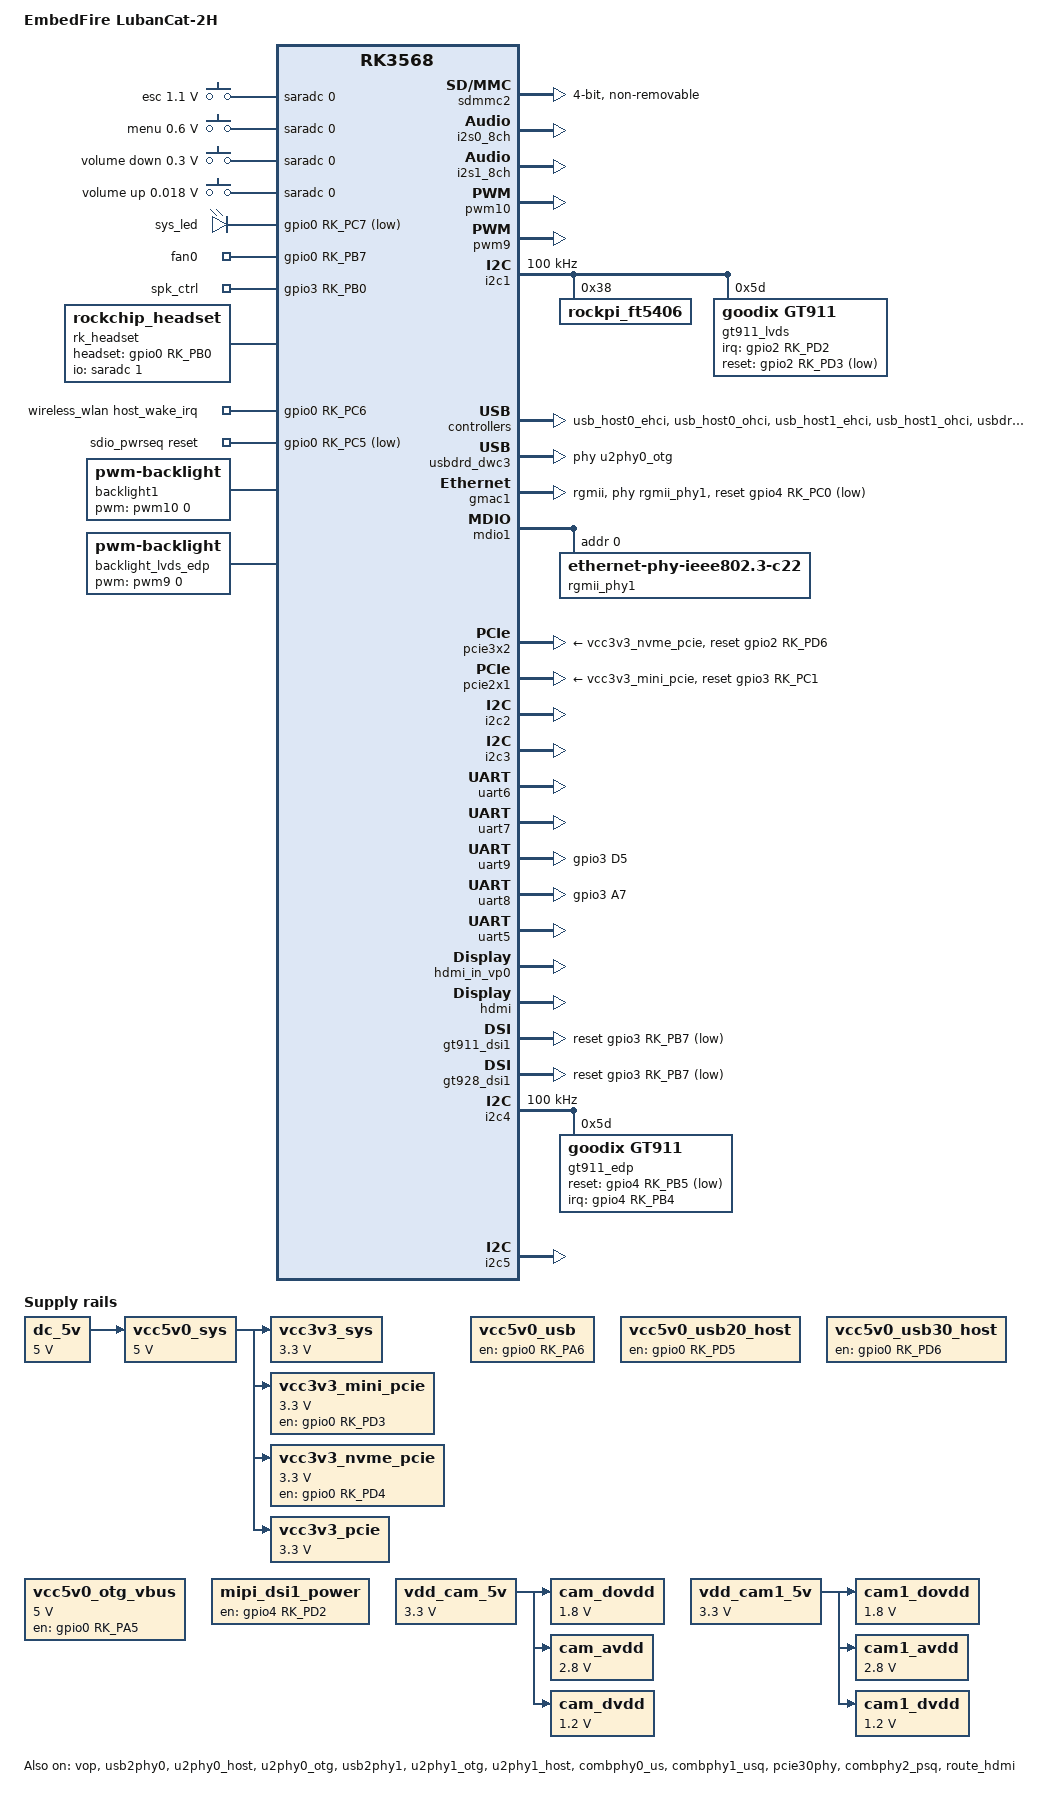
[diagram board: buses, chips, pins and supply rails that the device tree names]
// SPDX-License-Identifier: (GPL-2.0+ OR MIT)
 /dts-v1/;

#include <dt-bindings/gpio/gpio.h>
#include <dt-bindings/pwm/pwm.h>
#include <dt-bindings/pinctrl/rockchip.h>
#include <dt-bindings/input/rk-input.h>
#include <dt-bindings/display/drm_mipi_dsi.h>
#include <dt-bindings/display/rockchip_vop.h>
#include <dt-bindings/sensor-dev.h>
#include <dt-bindings/phy/jlsemi-dt-phy.h>
#include "rk3568.dtsi"
#include "rk3568-lubancat.dtsi"

//MIPI摄像头配置
#include "rk3568-lubancat-csi2-double.dtsi"
// #include "rk3568-lubancat-2h-gm8775c-lvds-800x1280.dtsi"
// #include "rk3568-lubancat-2h-edp-in-vp1.dtsi"
#include "rk3568-lubancat-2h-dsi1-in-vp1.dtsi"

/ {
	model = "EmbedFire LubanCat-2H";
	compatible = "embedfire,lubancat-2h", "rockchip,rk3568";

	adc-keys {
		compatible = "adc-keys";
		io-channels = <&saradc 0>;
		io-channel-names = "buttons";
		poll-interval = <100>;
		keyup-threshold-microvolt = <1800000>;

		esc-key {
			linux,code = <KEY_ESC>;
			label = "esc";
			press-threshold-microvolt = <1100000>;
		};

		menu-key {
			linux,code = <KEY_MENU>;
			label = "menu";
			press-threshold-microvolt = <600000>;
		};

		vol-down-key {
			linux,code = <KEY_VOLUMEDOWN>;
			label = "volume down";
			press-threshold-microvolt = <300000>;
		};

		vol-up-key {
			linux,code = <KEY_VOLUMEUP>;
			label = "volume up";
			press-threshold-microvolt = <18000>;
		};
	};

	dc_5v: dc-5v {
		compatible = "regulator-fixed";
		regulator-name = "dc_5v";
		regulator-always-on;
		regulator-boot-on;
		regulator-min-microvolt = <5000000>;
		regulator-max-microvolt = <5000000>;
	};

	vcc5v0_sys: vcc5v0-sys {
		compatible = "regulator-fixed";
		regulator-name = "vcc5v0_sys";
		regulator-always-on;
		regulator-boot-on;
		regulator-min-microvolt = <5000000>;
		regulator-max-microvolt = <5000000>;
		vin-supply = <&dc_5v>;
	};

	vcc3v3_sys: vcc3v3-sys {
		compatible = "regulator-fixed";
		regulator-name = "vcc3v3_sys";
		regulator-always-on;
		regulator-boot-on;
		regulator-min-microvolt = <3300000>;
		regulator-max-microvolt = <3300000>;
		vin-supply = <&vcc5v0_sys>;
	};

	vcc5v0_usb: vcc5v0-usb-regulator {
		compatible = "regulator-fixed";
		enable-active-high;
		gpio = <&gpio0 RK_PA6 GPIO_ACTIVE_HIGH>;
		pinctrl-names = "default";
		pinctrl-0 = <&vcc5v0_usb_en>;
		regulator-name = "vcc5v0_usb20_host";
		regulator-always-on;
	};

	vcc5v0_usb20_host: vcc5v0-usb20-host-regulator {
		compatible = "regulator-fixed";
		enable-active-high;
		gpio = <&gpio0 RK_PD5 GPIO_ACTIVE_HIGH>;
		pinctrl-names = "default";
		pinctrl-0 = <&vcc5v0_usb20_host_en>;
		regulator-name = "vcc5v0_usb20_host";
		regulator-always-on;
	};

	vcc5v0_usb30_host: vcc5v0-usb30-host-regulator {
		compatible = "regulator-fixed";
		enable-active-high;
		gpio = <&gpio0 RK_PD6 GPIO_ACTIVE_HIGH>;
		pinctrl-names = "default";
		pinctrl-0 = <&vcc5v0_usb30_host_en>;
		regulator-name = "vcc5v0_usb30_host";
		regulator-always-on;
	};

	vcc5v0_otg_vbus: vcc5v0-otg-vbus-regulator {
		compatible = "regulator-fixed";
		enable-active-high;
		regulator-min-microvolt = <5000000>;
		regulator-max-microvolt = <5000000>;
		gpio = <&gpio0 RK_PA5 GPIO_ACTIVE_HIGH>;
		pinctrl-names = "default";
		pinctrl-0 = <&vcc5v0_otg_vbus_en>;
		regulator-name = "vcc5v0_otg_vbus";
	};

	vcc3v3_mini_pcie: mini-pcie-3v3-regulator {
		compatible = "regulator-fixed";
		regulator-name = "vcc3v3_mini_pcie";
		regulator-min-microvolt = <3300000>;
		regulator-max-microvolt = <3300000>;
		enable-active-high;
		regulator-always-on;
		gpio = <&gpio0 RK_PD3 GPIO_ACTIVE_HIGH>;
		startup-delay-us = <5000>;
		vin-supply = <&vcc5v0_sys>;
	};

	vcc3v3_nvme_pcie: nvme-pcie-3v3-regulator {
		compatible = "regulator-fixed";
		regulator-name = "vcc3v3_nvme_pcie";
		regulator-min-microvolt = <3300000>;
		regulator-max-microvolt = <3300000>;
		enable-active-high;
		regulator-always-on;
		gpio = <&gpio0 RK_PD4 GPIO_ACTIVE_HIGH>;
		startup-delay-us = <5000>;
		vin-supply = <&vcc5v0_sys>;
	};

	vcc3v3_pcie: gpio-regulator {
		compatible = "regulator-fixed";
		regulator-always-on;
		regulator-boot-on;
		regulator-min-microvolt = <3300000>;
		regulator-max-microvolt = <3300000>;
		regulator-name = "vcc3v3_pcie";
		vin-supply = <&vcc5v0_sys>;
	};

	mipi_dsi1_power: mipi-dsi-power-regulator {
		compatible = "regulator-fixed";
		enable-active-high;
		gpio = <&gpio4 RK_PD2 GPIO_ACTIVE_HIGH>;
		pinctrl-names = "default";
		pinctrl-0 = <&mipi_dsi1_pwr_en>;
		regulator-name = "mipi_dsi1_power";
		regulator-always-on;
	};
	vdd_cam_5v: vdd-cam-5v-regulator {
		compatible = "regulator-fixed";
		regulator-name = "vdd_cam_5v";
		regulator-min-microvolt = <3300000>;
		regulator-max-microvolt = <3300000>;
		enable-active-high;
		regulator-always-on;
	};

	cam_dovdd: cam-dovdd {
		compatible = "regulator-fixed";
		regulator-name = "cam_dovdd";
		regulator-always-on;
		regulator-boot-on;
		regulator-min-microvolt = <1800000>;
		regulator-max-microvolt = <1800000>;
		vin-supply = <&vdd_cam_5v>;
	};

	cam_avdd: cam-avdd {
		compatible = "regulator-fixed";
		regulator-name = "cam_avdd";
		regulator-always-on;
		regulator-boot-on;
		regulator-min-microvolt = <2800000>;
		regulator-max-microvolt = <2800000>;
		vin-supply = <&vdd_cam_5v>;
	};

	cam_dvdd: cam-dvdd {
		compatible = "regulator-fixed";
		regulator-name = "cam_dvdd";
		regulator-always-on;
		regulator-boot-on;
		regulator-min-microvolt = <1200000>;
		regulator-max-microvolt = <1200000>;
		vin-supply = <&vdd_cam_5v>;
	};

	vdd_cam1_5v: vdd-cam1-5v-regulator {
		compatible = "regulator-fixed";
		regulator-name = "vdd_cam1_5v";
		regulator-min-microvolt = <3300000>;
		regulator-max-microvolt = <3300000>;
		enable-active-high;
		regulator-always-on;
	};

	cam1_dovdd: cam1-dovdd {
		compatible = "regulator-fixed";
		regulator-name = "cam1_dovdd";
		regulator-always-on;
		regulator-boot-on;
		regulator-min-microvolt = <1800000>;
		regulator-max-microvolt = <1800000>;
		vin-supply = <&vdd_cam1_5v>;
	};

	cam1_avdd: cam1-avdd {
		compatible = "regulator-fixed";
		regulator-name = "cam1_avdd";
		regulator-always-on;
		regulator-boot-on;
		regulator-min-microvolt = <2800000>;
		regulator-max-microvolt = <2800000>;
		vin-supply = <&vdd_cam1_5v>;
	};

	cam1_dvdd: cam1-dvdd {
		compatible = "regulator-fixed";
		regulator-name = "cam1_dvdd";
		regulator-always-on;
		regulator-boot-on;
		regulator-min-microvolt = <1200000>;
		regulator-max-microvolt = <1200000>;
		vin-supply = <&vdd_cam1_5v>;
	};

	leds: leds {
		status = "okay";
		compatible = "gpio-leds";

		sys_led: sys-led {
			label = "sys_led";
			linux,default-trigger = "heartbeat";
			default-state = "on";
			gpios = <&gpio0 RK_PC7 GPIO_ACTIVE_LOW>;
			pinctrl-names = "default";
			pinctrl-0 = <&sys_led_pin>;
		};

		fan0: fan0 {
			label = "fan0";
			default-state = "on";
			linux,default-trigger = "none";
			gpios = <&gpio0 RK_PB7 GPIO_ACTIVE_HIGH>;
			pinctrl-names = "default";
			pinctrl-0 = <&fan0_pin>;
		};

		spk_ctrl: spk_ctrl {
			label = "spk_ctrl";
			default-state = "on";
			linux,default-trigger = "none";
			gpios = <&gpio3 RK_PB0 GPIO_ACTIVE_HIGH>;
			pinctrl-names = "default";
			pinctrl-0 = <&spk_ctrl_pin>;
		};
	};

	rk809_sound: rk809-sound {
		status = "okay";
		compatible = "simple-audio-card";
		simple-audio-card,format = "i2s";
		simple-audio-card,name = "rockchip,rk809-codec";
		simple-audio-card,mclk-fs = <256>;
		simple-audio-card,widgets =
			"Microphone", "Mic Jack",
			"Headphone", "Headphone Jack";
		simple-audio-card,routing =
			"Mic Jack", "MICBIAS1",
			"IN1P", "Mic Jack",
			"Headphone Jack", "HPOL",
			"Headphone Jack", "HPOR";
		simple-audio-card,cpu {
			sound-dai = <&i2s1_8ch>;
		};
		simple-audio-card,codec {
			sound-dai = <&rk809_codec>;
		};
	};

	rk_headset: rk-headset {
		status = "okay";
		compatible = "rockchip_headset";
		headset_gpio = <&gpio0 RK_PB0 GPIO_ACTIVE_HIGH>;
		pinctrl-names = "default";
		pinctrl-0 = <&hp_det>;
		io-channels = <&saradc 1>;
	};

	hdmi_sound: hdmi-sound {
		compatible = "simple-audio-card";
		simple-audio-card,format = "i2s";
		simple-audio-card,mclk-fs = <128>;
		simple-audio-card,name = "rockchip,hdmi";
		status = "okay";

		simple-audio-card,cpu {
			sound-dai = <&i2s0_8ch>;
		};
		simple-audio-card,codec {
			sound-dai = <&hdmi>;
		};
	};

	wireless_wlan: wireless-wlan {
		compatible = "wlan-platdata";
		clocks = <&rk809 1>;
		clock-names = "clk_wifi";
		rockchip,grf = <&grf>;
		pinctrl-names = "default";
		pinctrl-0 = <&wifi_wake_host>;
		wifi_chip_type = "rtl8189es";
		WIFI,host_wake_irq = <&gpio0 RK_PC6 GPIO_ACTIVE_HIGH>;
		status = "okay";
	};

	sdio_pwrseq: sdio-pwrseq {
		compatible = "mmc-pwrseq-simple";
		clocks = <&rk809 1>;
		clock-names = "ext_clock";
		pinctrl-names = "default";
		pinctrl-0 = <&wifi_enable_h>;

			/*
		 * On the module itself this is one of these (depending
		 * on the actual card populated):
		 * - SDIO_RESET_L_WL_REG_ON
		 * - PDN (power down when low)
		 */
		reset-gpios = <&gpio0 RK_PC5 GPIO_ACTIVE_LOW>;
	};

	backlight1: backlight {
		status = "okay";
		compatible = "pwm-backlight";
		pwms = <&pwm10 0 50000 0>;
		brightness-levels = <
			 95  95  95  95  95  95  95  95
			 95  95  95  95  95  95  95  95
			 95  95  95  95  95  95  95  95
			 95  95  95  95  95  95  95  95
			 95  95  95  95  95  95  95  95
			 95  95  95  95  95  95  95  95
			 95  95  95  95  95  95  95  95
			 95  95  95  95  95  95  95  95
			 95  95  95  95  95  95  95  95
			 95  95  95  95  95  95  95  95
			 95  95  95  95  95  95  95  95
			 88  89  90  91  92  93  94  95
			 96  97  98  99 100 101 102 103
			104 105 106 107 108 109 110 111
			112 113 114 115 116 117 118 119
			120 121 122 123 124 125 126 127
			128 129 130 131 132 133 134 135
			136 137 138 139 140 141 142 143
			144 145 146 147 148 149 150 151
			152 153 154 155 156 157 158 159
			160 161 162 163 164 165 166 167
			168 169 170 171 172 173 174 175
			176 177 178 179 180 181 182 183
			184 185 186 187 188 189 190 191
			192 193 194 195 196 197 198 199
			200 201 202 203 204 205 206 207
			208 209 210 211 212 213 214 215
			216 217 218 219 220 221 222 223
			224 225 226 227 228 229 230 231
			232 233 234 235 236 237 238 239
			240 241 242 243 244 245 246 247
			248 249 250 251 252 253 254 255
		>;
		default-brightness-level = <200>;
	};

	backlight_lvds_edp: backlight-lvds-edp {
		status = "okay";
		compatible = "pwm-backlight";
		pwms = <&pwm9 0 50000 0>;
		brightness-levels = <
			 95  95  95  95  95  95  95  95
			 95  95  95  95  95  95  95  95
			 95  95  95  95  95  95  95  95
			 95  95  95  95  95  95  95  95
			 95  95  95  95  95  95  95  95
			 95  95  95  95  95  95  95  95
			 95  95  95  95  95  95  95  95
			 95  95  95  95  95  95  95  95
			 95  95  95  95  95  95  95  95
			 95  95  95  95  95  95  95  95
			 95  95  95  95  95  95  95  95
			 88  89  90  91  92  93  94  95
			 96  97  98  99 100 101 102 103
			104 105 106 107 108 109 110 111
			112 113 114 115 116 117 118 119
			120 121 122 123 124 125 126 127
			128 129 130 131 132 133 134 135
			136 137 138 139 140 141 142 143
			144 145 146 147 148 149 150 151
			152 153 154 155 156 157 158 159
			160 161 162 163 164 165 166 167
			168 169 170 171 172 173 174 175
			176 177 178 179 180 181 182 183
			184 185 186 187 188 189 190 191
			192 193 194 195 196 197 198 199
			200 201 202 203 204 205 206 207
			208 209 210 211 212 213 214 215
			216 217 218 219 220 221 222 223
			224 225 226 227 228 229 230 231
			232 233 234 235 236 237 238 239
			240 241 242 243 244 245 246 247
			248 249 250 251 252 253 254 255
		>;
		default-brightness-level = <200>;
	};
};

&sdmmc2 {
	max-frequency = <150000000>;
	supports-sdio;
	bus-width = <4>;
	disable-wp;
	cap-sd-highspeed;
	cap-sdio-irq;
	keep-power-in-suspend;
	mmc-pwrseq = <&sdio_pwrseq>;
	non-removable;
	pinctrl-names = "default";
	pinctrl-0 = <&sdmmc2m1_bus4 &sdmmc2m1_cmd &sdmmc2m1_clk>;
	sd-uhs-sdr104;
	status = "okay";
};

&i2s0_8ch {
	status = "okay";
};

&i2s1_8ch {
	status = "okay";
	rockchip,clk-trcm = <1>;
	/delete-property/ rockchip,playback-only;
	pinctrl-names = "default";
	pinctrl-0 = <&i2s1m0_sclktx
			 &i2s1m0_lrcktx
			 &i2s1m0_sdi0
			 &i2s1m0_sdo0>;
};

&pwm10 {
	status = "okay";
};

&pwm9 {
	status = "okay";
};

&xin32k {
	status = "disabled";
};

&i2c1 {
	status = "okay";
	clock-frequency = <100000>;

	rockpi_ft5406: rockpi_ft5406@38 {
		compatible = "rockpi_ft5406";
		reg = <0x38>;
		status = "okay";
	};

	gt911_lvds: gt911-lvds@5d {
		status = "okay";
		interrupt-parent = <&gpio2>;
		interrupts = <RK_PD2 IRQ_TYPE_LEVEL_LOW>;
		irq-gpios = <&gpio2 RK_PD2 GPIO_ACTIVE_HIGH>;
		reset-gpios = <&gpio2 RK_PD3 GPIO_ACTIVE_LOW>;
		compatible = "goodix,gt911";
		reg = <0x5d>;
		touchscreen-inverted-x = <1>;
		touchscreen-inverted-y = <1>;
	};
};

&pmu_io_domains {
	status = "okay";
	pmuio2-supply = <&vcc3v3_pmu>;
	vccio1-supply = <&vccio_acodec>;
	vccio3-supply = <&vccio_sd>;
	vccio4-supply = <&vcc_1v8>;
	vccio5-supply = <&vcc_3v3>;
	vccio6-supply = <&vcc_1v8>;
	vccio7-supply = <&vcc_3v3>;
};

&vop {
	status = "okay";
	assigned-clocks = <&cru DCLK_VOP0>, <&cru DCLK_VOP1>;
	assigned-clock-parents = <&pmucru PLL_HPLL>, <&cru PLL_VPLL>;
};

&vop_mmu {
	status = "okay";
};

&vp0 {
	rockchip,plane-mask = <(1 << ROCKCHIP_VOP2_CLUSTER0 | 1 << ROCKCHIP_VOP2_ESMART0 | 1 << ROCKCHIP_VOP2_SMART0)>;
	rockchip,primary-plane = <ROCKCHIP_VOP2_SMART0>;
	// cursor-win-id = <ROCKCHIP_VOP2_CLUSTER0>;
};

&vp1 {
	rockchip,plane-mask = <(1 << ROCKCHIP_VOP2_CLUSTER1 | 1 << ROCKCHIP_VOP2_ESMART1 | 1 << ROCKCHIP_VOP2_SMART1)>;
	rockchip,primary-plane = <ROCKCHIP_VOP2_SMART1>;
	// cursor-win-id = <ROCKCHIP_VOP2_CLUSTER1>;
};

/* USB OTG/USB Host_1 USB 2.0 Comb */
&usb2phy0 {
	status = "okay";
};

&u2phy0_host {
	phy-supply = <&vcc5v0_usb30_host>;
	status = "okay";
};

&u2phy0_otg {
	vbus-supply = <&vcc5v0_otg_vbus>;
	status = "okay";
};

&usb_host0_ehci {
	status = "okay";
};

&usb_host0_ohci {
	status = "okay";
};

/* USB Host_2/USB Host_3 USB 2.0 Comb */
&usb2phy1 {
	status = "okay";
};

&u2phy1_otg {
	phy-supply = <&vcc5v0_usb20_host>;
	status = "okay";
};

&u2phy1_host {
	status = "okay";
};

&usb_host1_ehci {
	status = "okay";
};

&usb_host1_ohci {
	status = "okay";
};

/* MULTI_PHY0 For SATA0, USB3.0 OTG Only USB2.0 */
&combphy0_us {
	status = "okay";
};

&usbdrd30 {
	status = "okay";
};

&usbdrd_dwc3 {
	phys = <&u2phy0_otg>;
	phy-names = "usb2-phy";
	extcon = <&usb2phy0>;
	maximum-speed = "high-speed";
	snps,dis_u2_susphy_quirk;
	snps,usb2-lpm-disable;
	status = "okay";
};

/* USB3.0 Host */
&combphy1_usq {
	status = "okay";
};

&usbhost30 {
	status = "okay";
};

&usbhost_dwc3 {
	status = "okay";
};

&gmac1 {
	phy-mode = "rgmii";
	clock_in_out = "output";

	snps,reset-gpio = <&gpio4 RK_PC0 GPIO_ACTIVE_LOW>;
	snps,reset-active-low;
	/* Reset time is 20ms, 100ms for rtl8211f */
	snps,reset-delays-us = <0 20000 100000>;

	assigned-clocks = <&cru SCLK_GMAC1_RX_TX>, <&cru SCLK_GMAC1>;
	assigned-clock-parents = <&cru SCLK_GMAC1_RGMII_SPEED>, <&cru CLK_MAC1_2TOP>;

	pinctrl-names = "default";
	pinctrl-0 = <&gmac1m1_miim
			 &gmac1m1_tx_bus2
			 &gmac1m1_rx_bus2
			 &gmac1m1_rgmii_clk
			 &gmac1m1_rgmii_bus>;

	/* RTL8211F  */
//	tx_delay = <0x1f>;
//	rx_delay = <0x0c>;

	/* JL2101 */
	tx_delay = <0x1f>;
	rx_delay = <0x08>;

	phy-handle = <&rgmii_phy1>;
	status = "okay";
};

&mdio1 {
	rgmii_phy1: phy@0 {
		compatible = "ethernet-phy-ieee802.3-c22";
		reg = <0x0>;
		jl2xxx,led-enable = <(JL2XXX_LED_STATIC_OP_EN | JL1XXX_LED_MODE_EN)>;
		jl2xxx,led-mode = <(JL2XXX_LED1_LINK10  | \
				 JL2XXX_LED1_LINK100  | \
				 JL2XXX_LED1_LINK1000 | \
				 JL2XXX_LED2_LINK10   | \
				 JL2XXX_LED2_LINK100  | \
				 JL2XXX_LED2_LINK1000 | \
				 JL2XXX_LED2_ACTIVITY )>;
	};
};

&pcie30phy {
	status = "okay";
};

&pcie3x2 {
	reset-gpios = <&gpio2 RK_PD6 GPIO_ACTIVE_HIGH>;
	vpcie3v3-supply = <&vcc3v3_nvme_pcie>;
	status = "okay";
};

/* mini pcie */
&pcie2x1 {
	reset-gpios = <&gpio3 RK_PC1 GPIO_ACTIVE_HIGH>;
	disable-gpios = <&gpio3 RK_PD4 GPIO_ACTIVE_HIGH>;
	vpcie3v3-supply = <&vcc3v3_mini_pcie>;
	status = "okay";
};

// &sata2 {
// 	status = "okay";
// };

&combphy2_psq {
	status = "okay";
};

&rockchip_suspend {
	status = "okay";
};

// i2c0
&i2c2 {
	status = "okay";
};

// i2c1
&i2c3 {
	status = "okay";
};

// rs232-1
&uart6{
	status = "okay";
};

// rs232-2
&uart7{
	status = "okay";
};

// rs485-1
&uart9{
	status = "okay";
	pinctrl-names = "default";
	pinctrl-0 = <&uart9m0_xfer &rs485_1_rts>;
	rs485-de-gpios = <&gpio3 RK_PD5 GPIO_ACTIVE_HIGH>;
	linux,rs485-enabled-at-boot-time;
};

// rs485-2
&uart8{
	status = "okay";
	pinctrl-names = "default";
	pinctrl-0 = <&uart8m1_xfer &rs485_2_rts>;
	rs485-de-gpios = <&gpio3 RK_PA7 GPIO_ACTIVE_HIGH>;
	linux,rs485-enabled-at-boot-time;
};

// uart-1
&uart5{
	status = "okay";
	pinctrl-names = "default";
	pinctrl-0 = <&uart5m1_xfer>;
};

// // uart-2
// &uart7{
// 	status = "okay";
// 	pinctrl-names = "default";
// 	pinctrl-0 = <&uart7m1_xfer>;
// };

&route_hdmi {
	status = "okay";
	connect = <&vp0_out_hdmi>;
};

&hdmi_in_vp0 {
	status = "okay";
};

&hdmi_in_vp1 {
	status = "disabled";
};

&hdmi {
	status = "okay";
};

// &video_phy1 {
// 	status = "okay";
// };

// &dsi1_in_vp1 {
// 	status = "okay";
// };

&dsi1_panel{
	reset-gpios = <&gpio3 RK_PC0 GPIO_ACTIVE_LOW>;
};

&gt911_dsi1 {
	status = "okay";
	interrupt-parent = <&gpio3>;
	interrupts = <RK_PB6 IRQ_TYPE_LEVEL_LOW>;
	reset-gpios = <&gpio3 RK_PB7 GPIO_ACTIVE_LOW>;
	irq-gpios = <&gpio3 RK_PB6 GPIO_ACTIVE_HIGH>;
};

&gt928_dsi1 {
	interrupt-parent = <&gpio3>;
	interrupts = <RK_PB6 IRQ_TYPE_LEVEL_LOW>;
	reset-gpios = <&gpio3 RK_PB7 GPIO_ACTIVE_LOW>;
	irq-gpios = <&gpio3 RK_PB6 GPIO_ACTIVE_HIGH>;
};

&i2c4 {
	status = "okay";
	clock-frequency = <100000>;
	#address-cells = <1>;
	#size-cells = <0>;
	inctrl-names = "default";
	pinctrl-0 = <&i2c4m0_xfer>;

	gt911_edp: gt911-edp@5d {
		status = "okay";
		interrupt-parent = <&gpio4>;
		interrupts = <RK_PB4 IRQ_TYPE_LEVEL_LOW>;
		reset-gpios = <&gpio4 RK_PB5 GPIO_ACTIVE_LOW>;
		irq-gpios = <&gpio4 RK_PB4 GPIO_ACTIVE_HIGH>;
		compatible = "goodix,gt911";
		reg = <0x5d>;
		touchscreen-inverted-x = <1>;
		touchscreen-inverted-y = <1>;
	};
};

// // i2c1
&i2c5 {
	status = "okay";
};


//cam0-gpio-setting
&ov5647 {
	pwdn-gpios = <&gpio2 RK_PB1 GPIO_ACTIVE_LOW>;
};

&ov5648 {
	pwdn-gpios = <&gpio2 RK_PB1 GPIO_ACTIVE_HIGH>;
	reset-gpios = <&gpio2 RK_PB2 GPIO_ACTIVE_LOW>;
};

&ov8858 {
	pwdn-gpios = <&gpio2 RK_PB1 GPIO_ACTIVE_HIGH>;
	reset-gpios = <&gpio2 RK_PB2 GPIO_ACTIVE_HIGH>;
};

&sc132gs {
	pwdn-gpios = <&gpio2 RK_PB1 GPIO_ACTIVE_HIGH>;
	reset-gpios = <&gpio2 RK_PB2 GPIO_ACTIVE_HIGH>;
};

//cam1-gpio-setting
&cam1_ov5647 {
	pwdn-gpios = <&gpio2 RK_PB7 GPIO_ACTIVE_LOW>;
};

&cam1_ov5648 {
	pwdn-gpios = <&gpio2 RK_PB7 GPIO_ACTIVE_HIGH>;
	reset-gpios = <&gpio2 RK_PC0 GPIO_ACTIVE_LOW>;
};

&cam1_ov8858 {
	pwdn-gpios = <&gpio2 RK_PB7 GPIO_ACTIVE_HIGH>;
	reset-gpios = <&gpio2 RK_PC0 GPIO_ACTIVE_HIGH>;
};

&cam1_sc132gs {
	pwdn-gpios = <&gpio2 RK_PB7 GPIO_ACTIVE_HIGH>;
	reset-gpios = <&gpio2 RK_PC0 GPIO_ACTIVE_HIGH>;
};


&pinctrl {
	headphone {
		hp_det: hp-det {
			rockchip,pins = <0 RK_PB0 RK_FUNC_GPIO &pcfg_pull_none>;
		};
	};

	usb {
		vcc5v0_usb_en: vcc5v0-usb-en {
			rockchip,pins = <0 RK_PA6 RK_FUNC_GPIO &pcfg_pull_none>;
		};

		vcc5v0_usb20_host_en: vcc5v0-usb20-host-en {
			rockchip,pins = <0 RK_PD5 RK_FUNC_GPIO &pcfg_pull_none>;
		};

		vcc5v0_usb30_host_en: vcc5v0-usb30-host-en {
			rockchip,pins = <0 RK_PD6 RK_FUNC_GPIO &pcfg_pull_none>;
		};

		vcc5v0_otg_vbus_en: vcc5v0-otg-vbus-en {
			rockchip,pins = <0 RK_PA5 RK_FUNC_GPIO &pcfg_pull_none>;
		};

		// vdd_3v3_edp_lcd_en: vdd-3v3-edp-lcd-en {
		// 	rockchip,pins = <4 RK_PC3 RK_FUNC_GPIO &pcfg_pull_none>;
		// };

	};

	pcie {
		vcc3v3_mini_pcie_en:vcc3v3-mini-pcie-en {
			rockchip,pins = <0 RK_PD3 RK_FUNC_GPIO &pcfg_pull_none>;
		};

	};

	lcd {
		mipi_dsi1_pwr_en: mipi-dsi1-pwr-en {
			rockchip,pins = <4 RK_PD2 RK_FUNC_GPIO &pcfg_pull_none>;
		};
	};

	cam {
		cam_pwr_en: cam-pwr-en {
			rockchip,pins = <3 RK_PA4 RK_FUNC_GPIO &pcfg_pull_none>;
		};
	};


	wifi {
		wifi_wake_host: wifi-wake-host {
			rockchip,pins = <0 RK_PC6 RK_FUNC_GPIO &pcfg_pull_none>;
		};

		wifi_enable_h:wifi-enable-h {
			rockchip,pins =
				<0 RK_PC5 RK_FUNC_GPIO &pcfg_pull_none>;
		};
	};

	rs485 {
		rs485_1_rts: rs485-1-rts {
			rockchip,pins = <3 RK_PD5 RK_FUNC_GPIO &pcfg_pull_none>;
		};

		rs485_2_rts: rs485-2-rts {
			rockchip,pins = <3 RK_PA7 RK_FUNC_GPIO &pcfg_pull_none>;
		};
	};

	leds {
		sys_led_pin: sys-led-pin {
			rockchip,pins = <0 RK_PC7 RK_FUNC_GPIO &pcfg_pull_none>;
		};

		fan0_pin: fan0-pin {
			rockchip,pins = <0 RK_PB7 RK_FUNC_GPIO &pcfg_pull_none>;
		};

		spk_ctrl_pin: spk-ctrl-pin {
			rockchip,pins = <3 RK_PB0 RK_FUNC_GPIO &pcfg_pull_none>;
		};
	};
};
